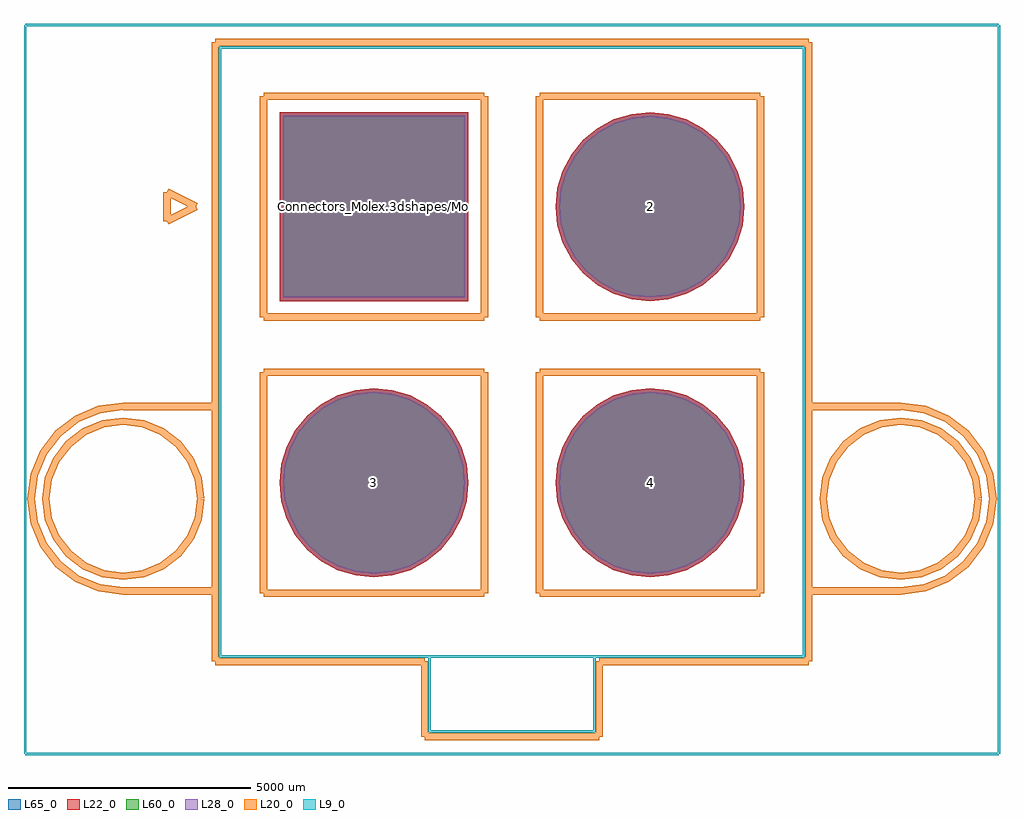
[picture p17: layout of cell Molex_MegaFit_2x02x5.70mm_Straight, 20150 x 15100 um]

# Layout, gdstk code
import gdstk
lib = gdstk.Library(unit=1e-6, precision=1e-09)
def R(c, l, rs):  # rectangles x0, y0, x1, y1
    for r in rs: c.add(gdstk.rectangle(r[:2], r[2:], *l))
def P(c, l, *ps):  # polygons
    for p in ps: c.add(gdstk.Polygon(p, *l))
L9_0 = (9, 0)
L20_0 = (20, 0)
L22_0 = (22, 0)
L28_0 = (28, 0)
L60_0 = (60, 0)
L65_0 = (65, 0)

molex_megafit_2x02x5_70m = lib.new_cell('Molex_MegaFit_2x02x5.70mm_Straight')
R(molex_megafit_2x02x5_70m, L22_0, [(-1950,-1950,1950,1950)])
P(molex_megafit_2x02x5_70m, L22_0, [(7650,-5700),(7612.531,-5319.574),(7501.565,-4953.767),(7321.366,-4616.638),(7078.858,-4321.142),(6783.362,-4078.634),(6446.233,-3898.435),(6080.426,-3787.469),(5700,-3750),(5319.574,-3787.469),(4953.767,-3898.435),(4616.638,-4078.634),(4321.142,-4321.142),(4078.634,-4616.638),(3898.435,-4953.767),(3787.469,-5319.574),(3750,-5700),(3787.469,-6080.426),(3898.435,-6446.233),(4078.634,-6783.362),(4321.142,-7078.858),(4616.638,-7321.366),(4953.767,-7501.565),(5319.574,-7612.531),(5700,-7650),(6080.426,-7612.531),(6446.233,-7501.565),(6783.362,-7321.366),(7078.858,-7078.858),(7321.366,-6783.362),(7501.565,-6446.233),(7612.531,-6080.426)],
  [(1950,-5700),(1912.531,-5319.574),(1801.565,-4953.767),(1621.366,-4616.638),(1378.858,-4321.142),(1083.362,-4078.634),(746.233,-3898.435),(380.426,-3787.469),(0,-3750),(-380.426,-3787.469),(-746.233,-3898.435),(-1083.362,-4078.634),(-1378.858,-4321.142),(-1621.366,-4616.638),(-1801.565,-4953.767),(-1912.531,-5319.574),(-1950,-5700),(-1912.531,-6080.426),(-1801.565,-6446.233),(-1621.366,-6783.362),(-1378.858,-7078.858),(-1083.362,-7321.366),(-746.233,-7501.565),(-380.426,-7612.531),(0,-7650),(380.426,-7612.531),(746.233,-7501.565),(1083.362,-7321.366),(1378.858,-7078.858),(1621.366,-6783.362),(1801.565,-6446.233),(1912.531,-6080.426)],
  [(7650,0),(7612.531,380.426),(7501.565,746.233),(7321.366,1083.362),(7078.858,1378.858),(6783.362,1621.366),(6446.233,1801.565),(6080.426,1912.531),(5700,1950),(5319.574,1912.531),(4953.767,1801.565),(4616.638,1621.366),(4321.142,1378.858),(4078.634,1083.362),(3898.435,746.233),(3787.469,380.426),(3750,0),(3787.469,-380.426),(3898.435,-746.233),(4078.634,-1083.362),(4321.142,-1378.858),(4616.638,-1621.366),(4953.767,-1801.565),(5319.574,-1912.531),(5700,-1950),(6080.426,-1912.531),(6446.233,-1801.565),(6783.362,-1621.366),(7078.858,-1378.858),(7321.366,-1083.362),(7501.565,-746.233),(7612.531,-380.426)])
R(molex_megafit_2x02x5_70m, L28_0, [(-1875,-1875,1875,1875)])
P(molex_megafit_2x02x5_70m, L28_0, [(7575,-5700),(7538.972,-5334.206),(7432.274,-4982.469),(7259.006,-4658.306),(7025.825,-4374.175),(6741.694,-4140.994),(6417.531,-3967.726),(6065.794,-3861.028),(5700,-3825),(5334.206,-3861.028),(4982.469,-3967.726),(4658.306,-4140.994),(4374.175,-4374.175),(4140.994,-4658.306),(3967.726,-4982.469),(3861.028,-5334.206),(3825,-5700),(3861.028,-6065.794),(3967.726,-6417.531),(4140.994,-6741.694),(4374.175,-7025.825),(4658.306,-7259.006),(4982.469,-7432.274),(5334.206,-7538.972),(5700,-7575),(6065.794,-7538.972),(6417.531,-7432.274),(6741.694,-7259.006),(7025.825,-7025.825),(7259.006,-6741.694),(7432.274,-6417.531),(7538.972,-6065.794)],
  [(1875,-5700),(1838.972,-5334.206),(1732.274,-4982.469),(1559.006,-4658.306),(1325.825,-4374.175),(1041.694,-4140.994),(717.531,-3967.726),(365.794,-3861.028),(0,-3825),(-365.794,-3861.028),(-717.531,-3967.726),(-1041.694,-4140.994),(-1325.825,-4374.175),(-1559.006,-4658.306),(-1732.274,-4982.469),(-1838.972,-5334.206),(-1875,-5700),(-1838.972,-6065.794),(-1732.274,-6417.531),(-1559.006,-6741.694),(-1325.825,-7025.825),(-1041.694,-7259.006),(-717.531,-7432.274),(-365.794,-7538.972),(0,-7575),(365.794,-7538.972),(717.531,-7432.274),(1041.694,-7259.006),(1325.825,-7025.825),(1559.006,-6741.694),(1732.274,-6417.531),(1838.972,-6065.794)],
  [(7575,0),(7538.972,365.794),(7432.274,717.531),(7259.006,1041.694),(7025.825,1325.825),(6741.694,1559.006),(6417.531,1732.274),(6065.794,1838.972),(5700,1875),(5334.206,1838.972),(4982.469,1732.274),(4658.306,1559.006),(4374.175,1325.825),(4140.994,1041.694),(3967.726,717.531),(3861.028,365.794),(3825,0),(3861.028,-365.794),(3967.726,-717.531),(4140.994,-1041.694),(4374.175,-1325.825),(4658.306,-1559.006),(4982.469,-1732.274),(5334.206,-1838.972),(5700,-1875),(6065.794,-1838.972),(6417.531,-1732.274),(6741.694,-1559.006),(7025.825,-1325.825),(7259.006,-1041.694),(7432.274,-717.531),(7538.972,-365.794)])
R(molex_megafit_2x02x5_70m, L60_0, [(-1875,-1875,1875,1875)])
P(molex_megafit_2x02x5_70m, L60_0, [(7575,-5700),(7538.972,-5334.206),(7432.274,-4982.469),(7259.006,-4658.306),(7025.825,-4374.175),(6741.694,-4140.994),(6417.531,-3967.726),(6065.794,-3861.028),(5700,-3825),(5334.206,-3861.028),(4982.469,-3967.726),(4658.306,-4140.994),(4374.175,-4374.175),(4140.994,-4658.306),(3967.726,-4982.469),(3861.028,-5334.206),(3825,-5700),(3861.028,-6065.794),(3967.726,-6417.531),(4140.994,-6741.694),(4374.175,-7025.825),(4658.306,-7259.006),(4982.469,-7432.274),(5334.206,-7538.972),(5700,-7575),(6065.794,-7538.972),(6417.531,-7432.274),(6741.694,-7259.006),(7025.825,-7025.825),(7259.006,-6741.694),(7432.274,-6417.531),(7538.972,-6065.794)],
  [(1875,-5700),(1838.972,-5334.206),(1732.274,-4982.469),(1559.006,-4658.306),(1325.825,-4374.175),(1041.694,-4140.994),(717.531,-3967.726),(365.794,-3861.028),(0,-3825),(-365.794,-3861.028),(-717.531,-3967.726),(-1041.694,-4140.994),(-1325.825,-4374.175),(-1559.006,-4658.306),(-1732.274,-4982.469),(-1838.972,-5334.206),(-1875,-5700),(-1838.972,-6065.794),(-1732.274,-6417.531),(-1559.006,-6741.694),(-1325.825,-7025.825),(-1041.694,-7259.006),(-717.531,-7432.274),(-365.794,-7538.972),(0,-7575),(365.794,-7538.972),(717.531,-7432.274),(1041.694,-7259.006),(1325.825,-7025.825),(1559.006,-6741.694),(1732.274,-6417.531),(1838.972,-6065.794)],
  [(7575,0),(7538.972,365.794),(7432.274,717.531),(7259.006,1041.694),(7025.825,1325.825),(6741.694,1559.006),(6417.531,1732.274),(6065.794,1838.972),(5700,1875),(5334.206,1838.972),(4982.469,1732.274),(4658.306,1559.006),(4374.175,1325.825),(4140.994,1041.694),(3967.726,717.531),(3861.028,365.794),(3825,0),(3861.028,-365.794),(3967.726,-717.531),(4140.994,-1041.694),(4374.175,-1325.825),(4658.306,-1559.006),(4982.469,-1732.274),(5334.206,-1838.972),(5700,-1875),(6065.794,-1838.972),(6417.531,-1732.274),(6741.694,-1559.006),(7025.825,-1325.825),(7259.006,-1041.694),(7432.274,-717.531),(7538.972,-365.794)])
R(molex_megafit_2x02x5_70m, L65_0, [(-1950,-1950,1950,1950)])
P(molex_megafit_2x02x5_70m, L65_0, [(7650,-5700),(7612.531,-5319.574),(7501.565,-4953.767),(7321.366,-4616.638),(7078.858,-4321.142),(6783.362,-4078.634),(6446.233,-3898.435),(6080.426,-3787.469),(5700,-3750),(5319.574,-3787.469),(4953.767,-3898.435),(4616.638,-4078.634),(4321.142,-4321.142),(4078.634,-4616.638),(3898.435,-4953.767),(3787.469,-5319.574),(3750,-5700),(3787.469,-6080.426),(3898.435,-6446.233),(4078.634,-6783.362),(4321.142,-7078.858),(4616.638,-7321.366),(4953.767,-7501.565),(5319.574,-7612.531),(5700,-7650),(6080.426,-7612.531),(6446.233,-7501.565),(6783.362,-7321.366),(7078.858,-7078.858),(7321.366,-6783.362),(7501.565,-6446.233),(7612.531,-6080.426)],
  [(1950,-5700),(1912.531,-5319.574),(1801.565,-4953.767),(1621.366,-4616.638),(1378.858,-4321.142),(1083.362,-4078.634),(746.233,-3898.435),(380.426,-3787.469),(0,-3750),(-380.426,-3787.469),(-746.233,-3898.435),(-1083.362,-4078.634),(-1378.858,-4321.142),(-1621.366,-4616.638),(-1801.565,-4953.767),(-1912.531,-5319.574),(-1950,-5700),(-1912.531,-6080.426),(-1801.565,-6446.233),(-1621.366,-6783.362),(-1378.858,-7078.858),(-1083.362,-7321.366),(-746.233,-7501.565),(-380.426,-7612.531),(0,-7650),(380.426,-7612.531),(746.233,-7501.565),(1083.362,-7321.366),(1378.858,-7078.858),(1621.366,-6783.362),(1801.565,-6446.233),(1912.531,-6080.426)],
  [(7650,0),(7612.531,380.426),(7501.565,746.233),(7321.366,1083.362),(7078.858,1378.858),(6783.362,1621.366),(6446.233,1801.565),(6080.426,1912.531),(5700,1950),(5319.574,1912.531),(4953.767,1801.565),(4616.638,1621.366),(4321.142,1378.858),(4078.634,1083.362),(3898.435,746.233),(3787.469,380.426),(3750,0),(3787.469,-380.426),(3898.435,-746.233),(4078.634,-1083.362),(4321.142,-1378.858),(4616.638,-1621.366),(4953.767,-1801.565),(5319.574,-1912.531),(5700,-1950),(6080.426,-1912.531),(6446.233,-1801.565),(6783.362,-1621.366),(7078.858,-1378.858),(7321.366,-1083.362),(7501.565,-746.233),(7612.531,-380.426)])
molex_megafit_2x02x5_70m.add(gdstk.FlexPath([(12900,3750),(-7200,3750)], 50, ends="flush", simple_path=True, layer=9, datatype=0))  # L9_0
molex_megafit_2x02x5_70m.add(gdstk.FlexPath([(12900,-11300),(12900,3750)], 50, ends="flush", simple_path=True, layer=9, datatype=0))  # L9_0
molex_megafit_2x02x5_70m.add(gdstk.FlexPath([(-7200,-11300),(12900,-11300)], 50, ends="flush", simple_path=True, layer=9, datatype=0))  # L9_0
molex_megafit_2x02x5_70m.add(gdstk.FlexPath([(-7200,3750),(-7200,-11300)], 50, ends="flush", simple_path=True, layer=9, datatype=0))  # L9_0
molex_megafit_2x02x5_70m.add(gdstk.FlexPath([(-4275,300),(-3675,0)], 149.998, ends="flush", simple_path=True, layer=20, datatype=0))  # L20_0
molex_megafit_2x02x5_70m.add(gdstk.FlexPath([(-4275,-300),(-4275,300)], 149.998, ends="flush", simple_path=True, layer=20, datatype=0))  # L20_0
molex_megafit_2x02x5_70m.add(gdstk.FlexPath([(-3675,0),(-4275,-300)], 149.998, ends="flush", simple_path=True, layer=20, datatype=0))  # L20_0
molex_megafit_2x02x5_70m.add(gdstk.FlexPath([(7980,-3420),(3420,-3420)], 149.998, ends="flush", simple_path=True, layer=20, datatype=0))  # L20_0
molex_megafit_2x02x5_70m.add(gdstk.FlexPath([(7980,-7980),(7980,-3420)], 149.998, ends="flush", simple_path=True, layer=20, datatype=0))  # L20_0
molex_megafit_2x02x5_70m.add(gdstk.FlexPath([(3420,-7980),(7980,-7980)], 149.998, ends="flush", simple_path=True, layer=20, datatype=0))  # L20_0
molex_megafit_2x02x5_70m.add(gdstk.FlexPath([(3420,-3420),(3420,-7980)], 149.998, ends="flush", simple_path=True, layer=20, datatype=0))  # L20_0
molex_megafit_2x02x5_70m.add(gdstk.FlexPath([(7980,2280),(3420,2280)], 149.998, ends="flush", simple_path=True, layer=20, datatype=0))  # L20_0
molex_megafit_2x02x5_70m.add(gdstk.FlexPath([(7980,-2280),(7980,2280)], 149.998, ends="flush", simple_path=True, layer=20, datatype=0))  # L20_0
molex_megafit_2x02x5_70m.add(gdstk.FlexPath([(3420,-2280),(7980,-2280)], 149.998, ends="flush", simple_path=True, layer=20, datatype=0))  # L20_0
molex_megafit_2x02x5_70m.add(gdstk.FlexPath([(3420,2280),(3420,-2280)], 149.998, ends="flush", simple_path=True, layer=20, datatype=0))  # L20_0
molex_megafit_2x02x5_70m.add(gdstk.FlexPath([(2280,-3420),(-2280,-3420)], 149.998, ends="flush", simple_path=True, layer=20, datatype=0))  # L20_0
molex_megafit_2x02x5_70m.add(gdstk.FlexPath([(2280,-7980),(2280,-3420)], 149.998, ends="flush", simple_path=True, layer=20, datatype=0))  # L20_0
molex_megafit_2x02x5_70m.add(gdstk.FlexPath([(-2280,-7980),(2280,-7980)], 149.998, ends="flush", simple_path=True, layer=20, datatype=0))  # L20_0
molex_megafit_2x02x5_70m.add(gdstk.FlexPath([(-2280,-3420),(-2280,-7980)], 149.998, ends="flush", simple_path=True, layer=20, datatype=0))  # L20_0
molex_megafit_2x02x5_70m.add(gdstk.FlexPath([(2280,2280),(-2280,2280)], 149.998, ends="flush", simple_path=True, layer=20, datatype=0))  # L20_0
molex_megafit_2x02x5_70m.add(gdstk.FlexPath([(2280,-2280),(2280,2280)], 149.998, ends="flush", simple_path=True, layer=20, datatype=0))  # L20_0
molex_megafit_2x02x5_70m.add(gdstk.FlexPath([(-2280,-2280),(2280,-2280)], 149.998, ends="flush", simple_path=True, layer=20, datatype=0))  # L20_0
molex_megafit_2x02x5_70m.add(gdstk.FlexPath([(-2280,2280),(-2280,-2280)], 149.998, ends="flush", simple_path=True, layer=20, datatype=0))  # L20_0
molex_megafit_2x02x5_70m.add(gdstk.FlexPath([(10875,-7936.25),(8975,-7936.25)], 149.998, ends="flush", simple_path=True, layer=20, datatype=0))  # L20_0
molex_megafit_2x02x5_70m.add(gdstk.FlexPath([(10875,-4123.75),(8975,-4123.75)], 149.998, ends="flush", simple_path=True, layer=20, datatype=0))  # L20_0
molex_megafit_2x02x5_70m.add(gdstk.FlexPath([(-5175,-7936.25),(-3275,-7936.25)], 149.998, ends="flush", simple_path=True, layer=20, datatype=0))  # L20_0
molex_megafit_2x02x5_70m.add(gdstk.FlexPath([(-5175,-4123.75),(-3275,-4123.75)], 149.998, ends="flush", simple_path=True, layer=20, datatype=0))  # L20_0
molex_megafit_2x02x5_70m.add(gdstk.FlexPath([(4650,-10940),(2850,-10940)], 149.998, ends="flush", simple_path=True, layer=20, datatype=0))  # L20_0
molex_megafit_2x02x5_70m.add(gdstk.FlexPath([(4650,-9390),(4650,-10940)], 149.998, ends="flush", simple_path=True, layer=20, datatype=0))  # L20_0
molex_megafit_2x02x5_70m.add(gdstk.FlexPath([(8975,-9390),(4650,-9390)], 149.998, ends="flush", simple_path=True, layer=20, datatype=0))  # L20_0
molex_megafit_2x02x5_70m.add(gdstk.FlexPath([(8975,3390),(8975,-9390)], 149.998, ends="flush", simple_path=True, layer=20, datatype=0))  # L20_0
molex_megafit_2x02x5_70m.add(gdstk.FlexPath([(2850,3390),(8975,3390)], 149.998, ends="flush", simple_path=True, layer=20, datatype=0))  # L20_0
molex_megafit_2x02x5_70m.add(gdstk.FlexPath([(1050,-10940),(2850,-10940)], 149.998, ends="flush", simple_path=True, layer=20, datatype=0))  # L20_0
molex_megafit_2x02x5_70m.add(gdstk.FlexPath([(1050,-9390),(1050,-10940)], 149.998, ends="flush", simple_path=True, layer=20, datatype=0))  # L20_0
molex_megafit_2x02x5_70m.add(gdstk.FlexPath([(-3275,-9390),(1050,-9390)], 149.998, ends="flush", simple_path=True, layer=20, datatype=0))  # L20_0
molex_megafit_2x02x5_70m.add(gdstk.FlexPath([(-3275,3390),(-3275,-9390)], 149.998, ends="flush", simple_path=True, layer=20, datatype=0))  # L20_0
molex_megafit_2x02x5_70m.add(gdstk.FlexPath([(2850,3390),(-3275,3390)], 149.998, ends="flush", simple_path=True, layer=20, datatype=0))  # L20_0
molex_megafit_2x02x5_70m.add(gdstk.FlexPath([(4550,-10840),(4550,-9290)], 50, ends="flush", simple_path=True, layer=9, datatype=0))  # L9_0
molex_megafit_2x02x5_70m.add(gdstk.FlexPath([(1150,-10840),(4550,-10840)], 50, ends="flush", simple_path=True, layer=9, datatype=0))  # L9_0
molex_megafit_2x02x5_70m.add(gdstk.FlexPath([(1150,-9290),(1150,-10840)], 50, ends="flush", simple_path=True, layer=9, datatype=0))  # L9_0
molex_megafit_2x02x5_70m.add(gdstk.FlexPath([(8875,3290),(-3175,3290)], 50, ends="flush", simple_path=True, layer=9, datatype=0))  # L9_0
molex_megafit_2x02x5_70m.add(gdstk.FlexPath([(8875,-9290),(8875,3290)], 50, ends="flush", simple_path=True, layer=9, datatype=0))  # L9_0
molex_megafit_2x02x5_70m.add(gdstk.FlexPath([(-3175,-9290),(8875,-9290)], 50, ends="flush", simple_path=True, layer=9, datatype=0))  # L9_0
molex_megafit_2x02x5_70m.add(gdstk.FlexPath([(-3175,3290),(-3175,-9290)], 50, ends="flush", simple_path=True, layer=9, datatype=0))  # L9_0
molex_megafit_2x02x5_70m.add(gdstk.FlexPath([(12475,-6030),(12420.481,-5615.89),(12260.641,-5230),(12006.371,-4898.629),(11675,-4644.359),(11289.11,-4484.519),(10875,-4430),(10460.89,-4484.519),(10075,-4644.359),(9743.629,-4898.629),(9489.359,-5230),(9329.519,-5615.89),(9275,-6030),(9329.519,-6444.11),(9489.359,-6830),(9743.629,-7161.371),(10075,-7415.641),(10460.89,-7575.481),(10875,-7630),(11289.11,-7575.481),(11675,-7415.641),(12006.371,-7161.371),(12260.641,-6830),(12420.481,-6444.11),(12475,-6030)], 149.998, ends="flush", simple_path=True, layer=20, datatype=0))  # L20_0
molex_megafit_2x02x5_70m.add(gdstk.FlexPath([(-3575,-6030),(-3629.519,-5615.89),(-3789.359,-5230),(-4043.629,-4898.629),(-4375,-4644.359),(-4760.89,-4484.519),(-5175,-4430),(-5589.11,-4484.519),(-5975,-4644.359),(-6306.371,-4898.629),(-6560.641,-5230),(-6720.481,-5615.89),(-6775,-6030),(-6720.481,-6444.11),(-6560.641,-6830),(-6306.371,-7161.371),(-5975,-7415.641),(-5589.11,-7575.481),(-5175,-7630),(-4760.89,-7575.481),(-4375,-7415.641),(-4043.629,-7161.371),(-3789.359,-6830),(-3629.519,-6444.11),(-3575,-6030)], 149.998, ends="flush", simple_path=True, layer=20, datatype=0))  # L20_0
molex_megafit_2x02x5_70m.add(gdstk.FlexPath([(10875,-7936.25),(11368.374,-7871.296),(11828.125,-7680.861),(12222.922,-7377.922),(12525.861,-6983.125),(12716.296,-6523.374),(12781.25,-6030),(12716.296,-5536.626),(12525.861,-5076.875),(12222.922,-4682.078),(11828.125,-4379.139),(11368.374,-4188.704),(10875,-4123.75)], 149.998, ends="flush", simple_path=True, layer=20, datatype=0))  # L20_0
molex_megafit_2x02x5_70m.add(gdstk.FlexPath([(-5175,-4123.75),(-5668.374,-4188.704),(-6128.125,-4379.139),(-6522.922,-4682.078),(-6825.861,-5076.875),(-7016.296,-5536.626),(-7081.25,-6030),(-7016.296,-6523.374),(-6825.861,-6983.125),(-6522.922,-7377.922),(-6128.125,-7680.861),(-5668.374,-7871.296),(-5175,-7936.25)], 149.998, ends="flush", simple_path=True, layer=20, datatype=0))  # L20_0
molex_megafit_2x02x5_70m.add(gdstk.Label('Connectors_Molex.3dshapes/Molex_MegaFit_2x02x5.70mm_Straight.wrl', (0,0), layer=12, texttype=0))
molex_megafit_2x02x5_70m.add(gdstk.Label('4', (5700,-5700), layer=28, texttype=0))
molex_megafit_2x02x5_70m.add(gdstk.Label('3', (0,-5700), layer=28, texttype=0))
molex_megafit_2x02x5_70m.add(gdstk.Label('2', (5700,0), layer=28, texttype=0))
molex_megafit_2x02x5_70m.add(gdstk.Label('1', (0,0), layer=28, texttype=0))
molex_megafit_2x02x5_70m.add(gdstk.Label('type', (2850,4700), layer=9, texttype=0))
molex_megafit_2x02x5_70m.add(gdstk.Label('devicename', (2850,-12000), layer=9, texttype=0))

lib.write_gds('Molex_MegaFit_2x02x5.70mm_Straight.gds')
